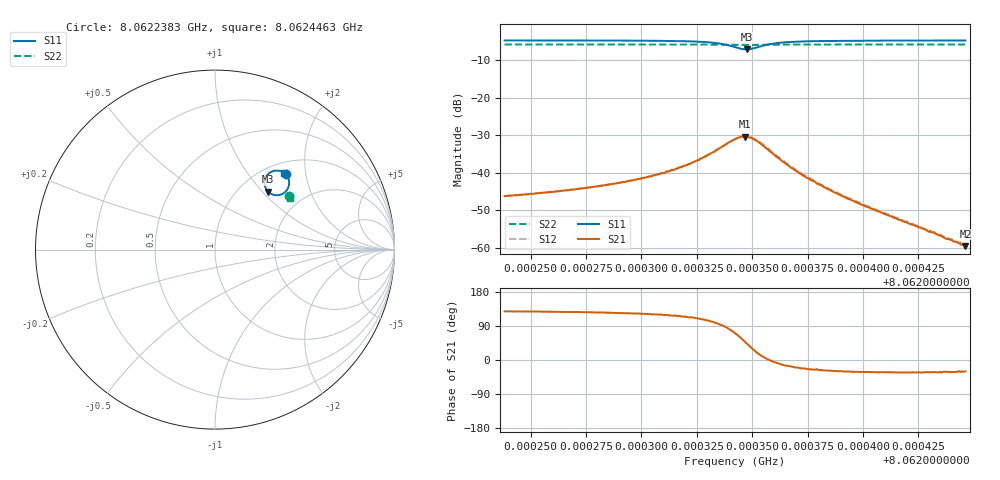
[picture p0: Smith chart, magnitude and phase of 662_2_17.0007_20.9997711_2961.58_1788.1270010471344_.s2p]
#  HZ  S  RI  R  50.00
! Rohde & Schwarz Vector Network Analyzer
! Rohde-Schwarz,ZNB20-2Port,1311601062101988,3.16
! Created: UTC 3/20/2024, 11:21:48 PM
! freq[Hz]  re:S11  im:S11  re:S21  im:S21  re:S12  im:S12  re:S22  im:S22
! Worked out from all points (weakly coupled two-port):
!   401 points, 8.0622383 GHz to 8.0624463 GHz, reference 50 ohm
!   highest |S21| = -30.38 dB at 8.0623469 GHz (marker M1); lowest = -59.5 dB at 8.0624463 GHz (marker M2)
!   lowest |S11| = -7.2 dB at 8.0623475 GHz (marker M3), VSWR 2.56, Z = 67.5 + j53.8 ohm
!   |S11| at or under -10 dB: nowhere
!   |S22| runs from -6.0 to -5.9 dB; largest |S21 - S12| = 0.0012
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8.06223827e9  0.3941 0.4198  -0.00302 0.00382  -0.00282 0.00402  0.4121 0.2983
8.06225699e9  0.3968 0.4166  -0.00334 0.00432  -0.00303 0.00454  0.4129 0.2973
8.06227311e9  0.3996 0.4131  -0.00366 0.00497  -0.00337 0.00525  0.4136 0.2962
8.06229235e9  0.4039 0.4064  -0.00418 0.00628  -0.00382 0.00656  0.4143 0.295
8.06230795e9  0.4086 0.3967  -0.00477 0.00831  -0.00432 0.00858  0.4149 0.2938
8.06231575e9  0.4112 0.3885  -0.00499 0.0101  -0.00452 0.0104  0.4149 0.2929
8.06232511e9  0.4132 0.3716  -0.00495 0.0136  -0.00419 0.0138  0.4152 0.2919
8.06233551e9  0.4021 0.334  -0.00129 0.0213  -0.000668 0.0211  0.4146 0.2899
8.06234226e9  0.3573 0.3041  0.00899 0.0266  0.00962 0.0261  0.4127 0.2888
8.06234486e9  0.3265 0.3052  0.0158 0.0255  0.016 0.0252  0.4115 0.289
8.06234694e9  0.3021 0.3176  0.0206 0.0221  0.021 0.022  0.4105 0.2896
8.06234746e9  0.2967 0.3222  0.0217 0.021  0.0221 0.021  0.4103 0.2898
8.06234954e9  0.2812 0.3447  0.0245 0.0157  0.0252 0.0157  0.4102 0.2908
8.06235214e9  0.2759 0.3752  0.0248 0.00896  0.0257 0.00873  0.4102 0.2922
8.0623589e9  0.3003 0.4242  0.0184 -0.000921  0.0189 -0.00178  0.412 0.2939
8.06236878e9  0.3351 0.4398  0.0106 -0.00355  0.0107 -0.00421  0.414 0.2935
8.0623771e9  0.3513 0.44  0.0071 -0.00327  0.00723 -0.00384  0.4153 0.293
8.0623901e9  0.3652 0.4372  0.00435 -0.00245  0.00427 -0.00277  0.4161 0.2922
8.06241194e9  0.3764 0.4325  0.00226 -0.00144  0.00221 -0.00162  0.4173 0.2907
8.06243222e9  0.3822 0.4294  0.00135 -0.000835  0.00131 -0.000968  0.4181 0.2894
8.06243794e9  0.3832 0.4285  0.00111 -0.000683  0.00116 -0.000769  0.4183 0.2891
8.06244626e9  0.3849 0.4276  0.00092 -0.000525  0.000877 -0.000584  0.4186 0.2887
